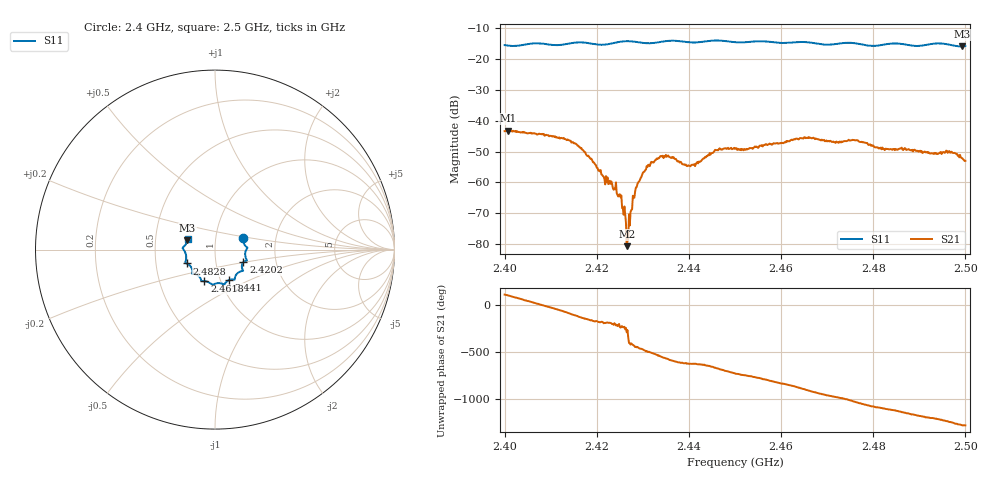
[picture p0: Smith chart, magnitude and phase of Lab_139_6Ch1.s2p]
# Hz S RI R 50
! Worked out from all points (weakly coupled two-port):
!   601 points, 2.4 GHz to 2.5 GHz, reference 50 ohm
!   highest |S21| = -43.16 dB at 2.4007 GHz (marker M1); lowest = -80.7 dB at 2.4265 GHz (marker M2)
!   lowest |S11| = -15.8 dB at 2.4993 GHz (marker M3), VSWR 1.39, Z = 36.5 + j3.84 ohm
!   |S11| at or under -10 dB: start of sweep to end of sweep
!   S12 and S22 are empty: the file has one direction only
!   S11 on the Smith chart (normalised r, x): 2.4 GHz: 1.36, +0.18; 2.4202 GHz: 1.36, -0.20; 2.441 GHz: 1.10, -0.39; 2.4618 GHz: 0.84, -0.30; 2.4828 GHz: 0.72, -0.12; 2.5 GHz: 0.73, +0.09
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2.4e9  0.1573 0.0628  -0.00259 0.00628  0 0  0 0
2.400667e9  0.157 0.0551  -0.00171 0.00674  0 0  0 0
2.412667e9  0.1691 -0.036  0.00214 -0.00471  0 0  0 0
2.416667e9  0.1777 -0.0602  -0.0025 -0.0026  0 0  0 0
2.420167e9  0.1582 -0.0708  -0.00171 -0.00015  0 0  0 0
2.424667e9  0.154 -0.1113  -0.000477 0.000347  0 0  0 0
2.4265e9  0.157 -0.118  3.24e-05 8.61e-05  0 0  0 0
2.427e9  0.1564 -0.1185  0.000212 -0.000216  0 0  0 0
2.427833e9  0.1534 -0.1188  0.000262 -0.000547  0 0  0 0
2.429e9  0.1456 -0.1204  -5.34e-05 -0.000999  0 0  0 0
2.431333e9  0.1237 -0.1331  -0.00142 -0.0013  0 0  0 0
2.433333e9  0.1121 -0.151  -0.00247 8.21e-05  0 0  0 0
2.441e9  0.0785 -0.1697  -0.000128 0.00193  0 0  0 0
2.446167e9  0.0506 -0.1953  0.00246 0.00227  0 0  0 0
2.45e9  0.0284 -0.1869  0.00344 -0.000614  0 0  0 0
2.461833e9  -0.0594 -0.1759  -0.00338 -0.0032  0 0  0 0
2.466667e9  -0.0778 -0.1681  -0.00474 0.00209  0 0  0 0
2.482833e9  -0.1576 -0.0774  0.00305 -0.00174  0 0  0 0
2.483333e9  -0.1606 -0.0762  0.00283 -0.00196  0 0  0 0
2.496333e9  -0.1724 0.0178  -0.00304 -0.00085  0 0  0 0
2.499333e9  -0.1533 0.0512  -0.00225 0.00101  0 0  0 0
2.5e9  -0.1518 0.061  -0.00204 0.000931  0 0  0 0
